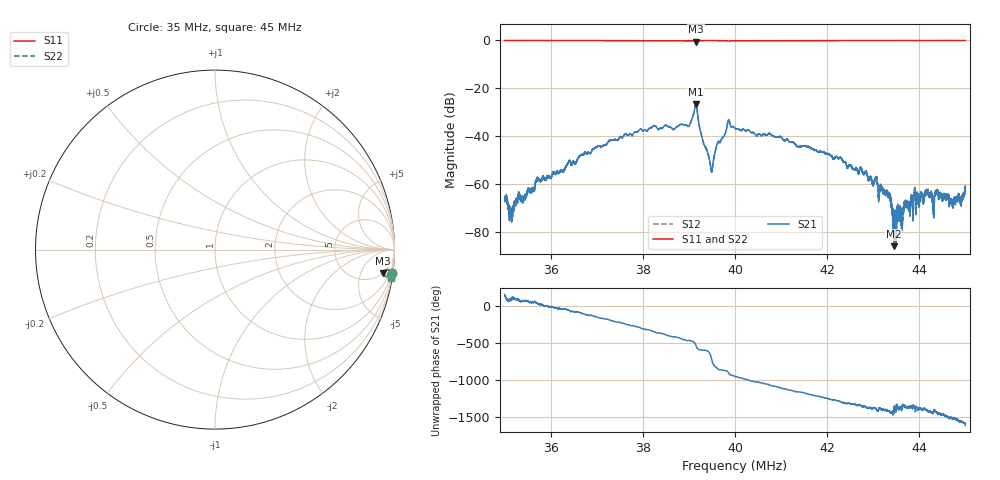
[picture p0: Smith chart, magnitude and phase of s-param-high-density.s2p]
!  24/08/2022  11:27:57 AM
! Ref Plane: 0.000 mm
# MHZ S MA R  50
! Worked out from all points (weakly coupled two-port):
!   8001 points, 35 MHz to 45 MHz, reference 50 ohm
!   highest |S21| = -26.62 dB at 39.15 MHz (marker M1); lowest = -85.9 dB at 43.45 MHz (marker M2)
!   lowest |S11| = -0.5 dB at 39.15 MHz (marker M3), VSWR 36.06, Z = 252 - j624 ohm
!   |S11| at or under -10 dB: nowhere
!   |S22| runs from -0.5 to 0.0 dB; largest |S21 - S12| = 0.00019
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35  0.9955 -7.4  0.0004313 151.6  0.0004566 148.5  0.9951 -7.5
35.145  0.9962 -7.5  0.000206 81.8  0.0002421 80.9  0.9964 -7.5
35.2913  0.996 -7.6  0.0005448 84.6  0.0005739 89.6  0.9954 -7.6
35.7138  0.9948 -7.7  0.001302 32.8  0.001329 31.0  0.995 -7.8
36.6675  0.9917 -8.0  0.004086 -100.1  0.004061 -100.5  0.9914 -8.2
38.3338  0.9792 -8.0  0.01374 -6.2  0.01366 -6.1  0.9798 -8.1
38.9863  0.9807 -8.2  0.01603 -108.4  0.01595 -108.4  0.9813 -8.4
39.15  0.9469 -8.2  0.04665 -169.8  0.04667 -169.7  0.9486 -8.3
39.1538  0.946 -7.9  0.04639 -176.1  0.04636 -176.2  0.9476 -8.0
39.485  0.9908 -7.9  0.001892 17.7  0.001896 19.1  0.9902 -8.1
39.8475  0.9739 -8.5  0.02077 -170.6  0.02072 -170.6  0.9742 -8.6
40  0.9819 -7.9  0.0146 129.6  0.01453 129.6  0.9814 -8.0
41.6675  0.9863 -8.0  0.005425 -119.0  0.00548 -119.8  0.9854 -8.0
42.75  0.9907 -8.2  0.002023 87.2  0.002 86.5  0.9911 -8.2
43.3338  0.9921 -8.4  0.000574 25.7  0.0005514 26.9  0.992 -8.5
43.4463  0.9921 -8.4  5.056e-05 72.5  0.0001113 22.1  0.9928 -8.5
43.925  0.9923 -8.5  0.0003163 52.2  0.0002662 49.9  0.9928 -8.7
44.1738  0.9938 -8.7  0.0007561 24.6  0.0007883 29.2  0.9937 -8.7
44.29  0.9932 -8.7  0.0004023 7.2  0.0004354 -2.5  0.994 -8.8
44.3788  0.9934 -8.7  0.0007357 9.8  0.0006544 10.2  0.9935 -8.8
44.7038  0.9936 -8.8  0.0004694 -69.2  0.0004983 -72.2  0.994 -8.9
45  0.9915 -9.0  0.0007539 -170.0  0.0008845 -169.7  0.9916 -9.1
